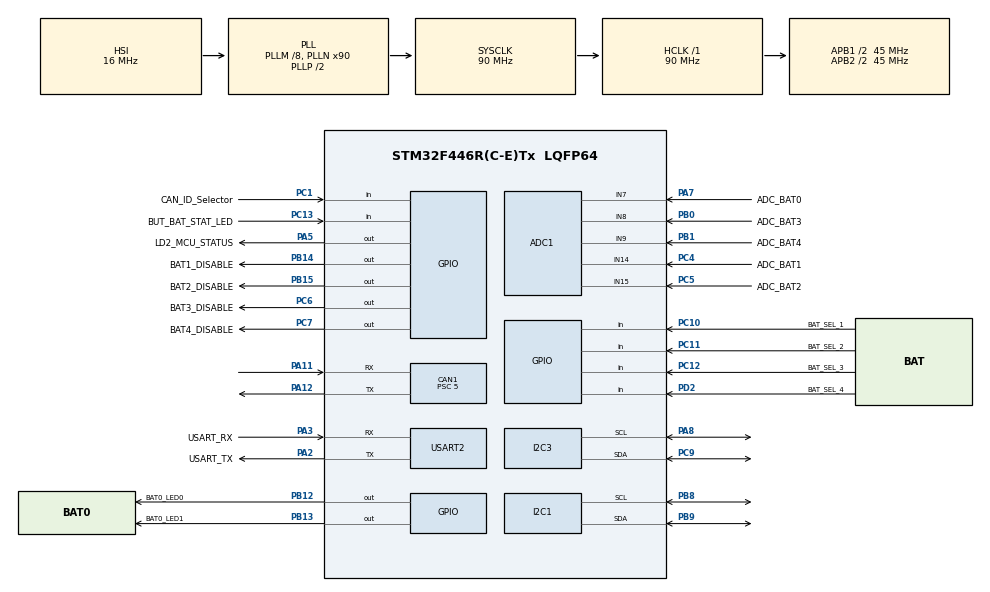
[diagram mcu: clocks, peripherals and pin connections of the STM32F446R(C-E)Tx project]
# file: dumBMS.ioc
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ADC1.Channel-1\#ChannelRegularConversion=ADC_CHANNEL_7
ADC1.Channel-2\#ChannelRegularConversion=ADC_CHANNEL_14
ADC1.Channel-3\#ChannelRegularConversion=ADC_CHANNEL_15
ADC1.Channel-4\#ChannelRegularConversion=ADC_CHANNEL_9
ADC1.Channel-5\#ChannelRegularConversion=ADC_CHANNEL_8
ADC1.DMAContinuousRequests=ENABLE
ADC1.EOCSelection=ADC_EOC_SEQ_CONV
ADC1.ExternalTrigConv=ADC_EXTERNALTRIGCONV_T2_TRGO
ADC1.NbrOfConversion=5
ADC1.NbrOfConversionFlag=1
ADC1.Rank-1\#ChannelRegularConversion=1
ADC1.Rank-2\#ChannelRegularConversion=2
ADC1.Rank-3\#ChannelRegularConversion=3
ADC1.Rank-4\#ChannelRegularConversion=4
ADC1.Rank-5\#ChannelRegularConversion=5
ADC1.SamplingTime-1\#ChannelRegularConversion=ADC_SAMPLETIME_28CYCLES
ADC1.SamplingTime-2\#ChannelRegularConversion=ADC_SAMPLETIME_28CYCLES
ADC1.SamplingTime-3\#ChannelRegularConversion=ADC_SAMPLETIME_28CYCLES
ADC1.SamplingTime-4\#ChannelRegularConversion=ADC_SAMPLETIME_28CYCLES
ADC1.SamplingTime-5\#ChannelRegularConversion=ADC_SAMPLETIME_28CYCLES
ADC1.ScanConvMode=ENABLE
ADC1.master=1
CAN1.BS1=CAN_BS1_15TQ
CAN1.BS2=CAN_BS2_2TQ
CAN1.CalculateBaudRate=500000
CAN1.CalculateTimeBit=2000
CAN1.CalculateTimeQuantum=111.11111111111111
CAN1.Mode=CAN_MODE_LOOPBACK
CAN1.NART=ENABLE
CAN1.Prescaler=5
Dma.ADC1.0.Direction=DMA_PERIPH_TO_MEMORY
Dma.ADC1.0.FIFOMode=DMA_FIFOMODE_DISABLE
Dma.ADC1.0.Instance=DMA2_Stream0
Dma.ADC1.0.MemDataAlignment=DMA_MDATAALIGN_HALFWORD
Dma.ADC1.0.MemInc=DMA_MINC_ENABLE
Dma.ADC1.0.Mode=DMA_CIRCULAR
Dma.ADC1.0.PeriphDataAlignment=DMA_PDATAALIGN_HALFWORD
Dma.ADC1.0.PeriphInc=DMA_PINC_DISABLE
Dma.ADC1.0.Priority=DMA_PRIORITY_LOW
Dma.Request0=ADC1
Mcu.Family=STM32F4
Mcu.Name=STM32F446R(C-E)Tx
Mcu.Package=LQFP64
NVIC.DMA2_Stream0_IRQn=true\:0\:0\:false\:false\:true\:false\:true\:true
NVIC.PriorityGroup=NVIC_PRIORITYGROUP_0
NVIC.TIM3_IRQn=true\:0\:0\:false\:false\:true\:true\:true\:true
PA11.Mode=CAN_Activate
PA11.Signal=CAN1_RX
PA12.Mode=CAN_Activate
PA12.Signal=CAN1_TX
PA13.GPIO_Label=TMS
PA13.Mode=Serial_Wire
PA13.Signal=SYS_JTMS-SWDIO
PA14.GPIO_Label=TCK
PA14.Mode=Serial_Wire
PA14.Signal=SYS_JTCK-SWCLK
PA2.GPIO_Label=USART_TX
PA2.Mode=Asynchronous
PA2.Signal=USART2_TX
PA3.GPIO_Label=USART_RX
PA3.Mode=Asynchronous
PA3.Signal=USART2_RX
PA5.GPIO_Label=LD2_MCU_STATUS
PA5.Signal=GPIO_Output
PA7.GPIO_Label=ADC_BAT0
PA7.Signal=ADCx_IN7
PA8.Mode=I2C
PA8.Signal=I2C3_SCL
PB0.GPIO_Label=ADC_BAT3
PB0.Signal=ADCx_IN8
PB1.GPIO_Label=ADC_BAT4
PB1.Signal=ADCx_IN9
PB12.GPIO_Label=BAT0_LED0
PB12.Signal=GPIO_Output
PB13.GPIO_Label=BAT0_LED1
PB13.Signal=GPIO_Output
PB14.GPIO_Label=BAT1_DISABLE
PB14.Signal=GPIO_Output
PB15.GPIO_Label=BAT2_DISABLE
PB15.Signal=GPIO_Output
PB3.GPIO_Label=SWO
PB3.Signal=SYS_JTDO-SWO
PB8.Mode=I2C
PB8.Signal=I2C1_SCL
PB9.Mode=I2C
PB9.Signal=I2C1_SDA
PC1.GPIO_Label=CAN_ID_Selector
PC1.GPIO_PuPd=GPIO_PULLUP
PC1.Signal=GPIO_Input
PC10.GPIO_Label=BAT_SEL_1
PC10.GPIO_PuPd=GPIO_PULLUP
PC10.Signal=GPIO_Input
PC11.GPIO_Label=BAT_SEL_2
PC11.GPIO_PuPd=GPIO_PULLUP
PC11.Signal=GPIO_Input
PC12.GPIO_Label=BAT_SEL_3
PC12.GPIO_PuPd=GPIO_PULLUP
PC12.Signal=GPIO_Input
PC13.GPIO_Label=BUT_BAT_STAT_LED
PC13.Signal=GPIO_Input
PC14-OSC32_IN.Mode=LSE-External-Oscillator
PC14-OSC32_IN.Signal=RCC_OSC32_IN
PC15-OSC32_OUT.Mode=LSE-External-Oscillator
PC15-OSC32_OUT.Signal=RCC_OSC32_OUT
PC4.GPIO_Label=ADC_BAT1
PC4.Signal=ADCx_IN14
PC5.GPIO_Label=ADC_BAT2
PC5.Signal=ADCx_IN15
PC6.GPIO_Label=BAT3_DISABLE
PC6.Signal=GPIO_Output
PC7.GPIO_Label=BAT4_DISABLE
PC7.Signal=GPIO_Output
PC9.Mode=I2C
PC9.Signal=I2C3_SDA
PD2.GPIO_Label=BAT_SEL_4
PD2.GPIO_PuPd=GPIO_PULLUP
PD2.Signal=GPIO_Input
PH0-OSC_IN.Mode=HSE-External-Oscillator
PH0-OSC_IN.Signal=RCC_OSC_IN
PH1-OSC_OUT.Mode=HSE-External-Oscillator
PH1-OSC_OUT.Signal=RCC_OSC_OUT
ProjectManager.HeapSize=0x200
ProjectManager.StackSize=0x400
ProjectManager.TargetToolchain=Makefile
RCC.48MHZClocksFreq_Value=84000000
RCC.AHBFreq_Value=90000000
RCC.APB1CLKDivider=RCC_HCLK_DIV2
RCC.APB1Freq_Value=45000000
RCC.APB1TimFreq_Value=90000000
RCC.APB2CLKDivider=RCC_HCLK_DIV2
RCC.APB2Freq_Value=45000000
RCC.APB2TimFreq_Value=90000000
RCC.CortexFreq_Value=90000000
RCC.FLatency-AdvancedSettings=FLASH_LATENCY_2
RCC.HCLKFreq_Value=90000000
RCC.HSE_VALUE=8000000
RCC.HSI_VALUE=16000000
RCC.PLLM=8
RCC.PLLN=90
RCC.SYSCLKFreq_VALUE=90000000
RCC.SYSCLKSource=RCC_SYSCLKSOURCE_PLLCLK
RCC.USBFreq_Value=90000000
RCC.VCOOutputFreq_Value=180000000
SH.ADCx_IN14.0=ADC1_IN14,IN14
SH.ADCx_IN15.0=ADC1_IN15,IN15
SH.ADCx_IN7.0=ADC1_IN7,IN7
SH.ADCx_IN8.0=ADC1_IN8,IN8
SH.ADCx_IN9.0=ADC1_IN9,IN9
TIM2.Period=4999
TIM2.Prescaler=8999
TIM2.TIM_MasterOutputTrigger=TIM_TRGO_UPDATE
TIM3.Period=49999
TIM3.Prescaler=8999
USART2.VirtualMode=VM_ASYNC
VP_TIM2_VS_ClockSourceINT.Mode=Internal
VP_TIM3_VS_ClockSourceINT.Mode=Internal
board=NUCLEO-F446RE

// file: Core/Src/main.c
/* USER CODE BEGIN Header */
/**
  ******************************************************************************
  * @file           : main.c
  * @brief          : Main program body
  ******************************************************************************
  * @attention
  *
  * Copyright (c) 2023 STMicroelectronics.
  * All rights reserved.
  *
  * This software is licensed under terms that can be found in the LICENSE file
  * in the root directory of this software component.
  * If no LICENSE file comes with this software, it is provided AS-IS.
  *
  ******************************************************************************
  */
/* USER CODE END Header */
#include "main.h"
#include "adc.h"
#include "can.h"
#include "dma.h"
#include "i2c.h"
#include "tim.h"
#include "usart.h"
#include "gpio.h"

/* USER CODE BEGIN Includes */
#include "coulomb_estimator.h"
#include "../../Drivers/INA228/INA228.h"
/* USER CODE END Includes */

void SystemClock_Config(void);

int main(void)
{

  /* MCU Configuration--------------------------------------------------------*/

  /* Reset of all peripherals, Initializes the Flash interface and the Systick. */
  HAL_Init();

  /* Configure the system clock */
  SystemClock_Config();

  /* Initialize all configured peripherals */
  MX_GPIO_Init();
  MX_DMA_Init();
  MX_USART2_UART_Init();
  MX_ADC1_Init();
  MX_TIM2_Init();
  MX_CAN1_Init();
  MX_TIM3_Init();
  MX_I2C1_Init();
  MX_I2C3_Init();
  /* USER CODE BEGIN 2 */

  HAL_GPIO_WritePin(LD2_MCU_STATUS_GPIO_Port, LD2_MCU_STATUS_Pin, SET);
  bat_init();
  button_init();
  can_init();

  INA228_HandleTypeDef ina228_1;
  INA228_HandleTypeDef ina228_2;

  INA228_Init(&ina228_1, &hi2c1, 0x40, 1, 2, 4, 3, 0.450, 0.350);
  INA228_Init(&ina228_1, &hi2c1, 0x41, 1, 2, 4, 3, 0.100, 1.4);

  CoulombEst_HandleTypeDef line1 = CoulombEst_InitIntegral(&ina228_1, 0.1);
  CoulombEst_HandleTypeDef line2 = CoulombEst_InitIntegral(&ina228_2, 0.1);

  uint64_t coul_sens_tick=HAL_GetTick();
  uint64_t tick;

  #ifdef DEBUG
    char dbg_str[100];
  #endif
  /* USER CODE END 2 */

  /* Infinite loop */
  /* USER CODE BEGIN WHILE */
  while (1)
  {
    button_polling();
    can_send_bat_status();
    bat_volt_check();
    tick=HAL_GetTick();
    if(coul_sens_tick-tick >= 100){
      CoulombEst_addSampleFromSens(&line1);
      CoulombEst_addSampleFromSens(&line2);
      coul_sens_tick=tick;
      #ifdef DEBUG
        sprintf(dbg_str, "BAT1: %fA, %fC\nBAT2: %fA, %fC\n", line1.curr_val, line1.integral, line2.curr_val, line2.integral);
        //sprintf(dbg_str, "BAT1: %d.%dA, %d.%dC\nBAT2: %d.%dA, %d.%dC\n",
        //        line1.curr_val/10, (int)line1.curr_val%10, line1.integral/10, (int)line1.integral%10,
        //        line2.curr_val/10, (int)line2.curr_val%10, line2.integral/10, (int)line2.integral%10);
        HAL_UART_Transmit(&huart2, dbg_str, strlen(dbg_str), 50);

      #endif
    }
    /* USER CODE END WHILE */

  }
}

void SystemClock_Config(void)
{
  RCC_OscInitTypeDef RCC_OscInitStruct = {0};
  RCC_ClkInitTypeDef RCC_ClkInitStruct = {0};

  /** Configure the main internal regulator output voltage
  */
  __HAL_RCC_PWR_CLK_ENABLE();
  __HAL_PWR_VOLTAGESCALING_CONFIG(PWR_REGULATOR_VOLTAGE_SCALE3);

  /** Initializes the RCC Oscillators according to the specified parameters
  * in the RCC_OscInitTypeDef structure.
  */
  RCC_OscInitStruct.OscillatorType = RCC_OSCILLATORTYPE_HSI;
  RCC_OscInitStruct.HSIState = RCC_HSI_ON;
  RCC_OscInitStruct.HSICalibrationValue = RCC_HSICALIBRATION_DEFAULT;
  RCC_OscInitStruct.PLL.PLLState = RCC_PLL_ON;
  RCC_OscInitStruct.PLL.PLLSource = RCC_PLLSOURCE_HSI;
  RCC_OscInitStruct.PLL.PLLM = 8;
  RCC_OscInitStruct.PLL.PLLN = 90;
  RCC_OscInitStruct.PLL.PLLP = RCC_PLLP_DIV2;
  RCC_OscInitStruct.PLL.PLLQ = 2;
  RCC_OscInitStruct.PLL.PLLR = 2;
  if (HAL_RCC_OscConfig(&RCC_OscInitStruct) != HAL_OK)
  {
    Error_Handler();
  }

  /** Initializes the CPU, AHB and APB buses clocks
  */
  RCC_ClkInitStruct.ClockType = RCC_CLOCKTYPE_HCLK|RCC_CLOCKTYPE_SYSCLK
                              |RCC_CLOCKTYPE_PCLK1|RCC_CLOCKTYPE_PCLK2;
  RCC_ClkInitStruct.SYSCLKSource = RCC_SYSCLKSOURCE_PLLCLK;
  RCC_ClkInitStruct.AHBCLKDivider = RCC_SYSCLK_DIV1;
  RCC_ClkInitStruct.APB1CLKDivider = RCC_HCLK_DIV2;
  RCC_ClkInitStruct.APB2CLKDivider = RCC_HCLK_DIV2;

  if (HAL_RCC_ClockConfig(&RCC_ClkInitStruct, FLASH_LATENCY_2) != HAL_OK)
  {
    Error_Handler();
  }
}

void Error_Handler(void)
{
  __disable_irq();
  while (1)
  {
  }
}
